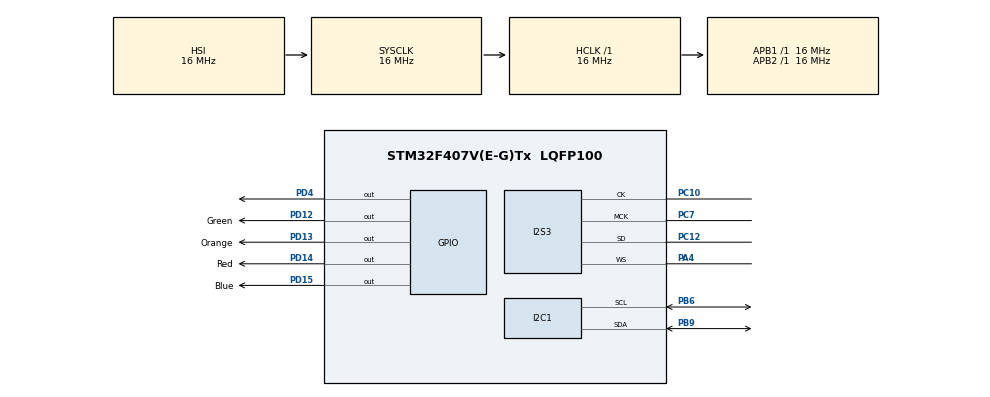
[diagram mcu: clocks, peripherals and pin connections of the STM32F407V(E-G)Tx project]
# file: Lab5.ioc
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Dma.Request0=SPI3_TX
Dma.SPI3_TX.0.Direction=DMA_MEMORY_TO_PERIPH
Dma.SPI3_TX.0.FIFOMode=DMA_FIFOMODE_ENABLE
Dma.SPI3_TX.0.FIFOThreshold=DMA_FIFO_THRESHOLD_FULL
Dma.SPI3_TX.0.Instance=DMA1_Stream5
Dma.SPI3_TX.0.MemBurst=DMA_MBURST_SINGLE
Dma.SPI3_TX.0.MemDataAlignment=DMA_MDATAALIGN_HALFWORD
Dma.SPI3_TX.0.MemInc=DMA_MINC_ENABLE
Dma.SPI3_TX.0.Mode=DMA_CIRCULAR
Dma.SPI3_TX.0.PeriphBurst=DMA_PBURST_SINGLE
Dma.SPI3_TX.0.PeriphDataAlignment=DMA_PDATAALIGN_HALFWORD
Dma.SPI3_TX.0.PeriphInc=DMA_PINC_DISABLE
Dma.SPI3_TX.0.Priority=DMA_PRIORITY_LOW
I2S3.AudioFreq=I2S_AUDIOFREQ_48K
I2S3.ErrorAudioFreq=-2.34 %
I2S3.FullDuplexMode=I2S_FULLDUPLEXMODE_DISABLE
I2S3.Instance=SPI$Index
I2S3.RealAudioFreq=46.875 KHz
I2S3.VirtualMode=I2S_MODE_MASTER
Mcu.Family=STM32F4
Mcu.Name=STM32F407V(E-G)Tx
Mcu.Package=LQFP100
NVIC.DMA1_Stream5_IRQn=true\:0\:0\:false\:false\:true\:false\:true\:true
NVIC.PriorityGroup=NVIC_PRIORITYGROUP_4
PA4.Mode=Half_Duplex_Master
PA4.Signal=I2S3_WS
PB6.Mode=I2C
PB6.Signal=I2C1_SCL
PB9.Mode=I2C
PB9.Signal=I2C1_SDA
PC10.Mode=Half_Duplex_Master
PC10.Signal=I2S3_CK
PC12.Mode=Half_Duplex_Master
PC12.Signal=I2S3_SD
PC7.Mode=Master_Clock_Activated
PC7.Signal=I2S3_MCK
PD12.GPIO_Label=Green
PD12.Signal=GPIO_Output
PD13.GPIO_Label=Orange
PD13.Signal=GPIO_Output
PD14.GPIO_Label=Red
PD14.Signal=GPIO_Output
PD15.GPIO_Label=Blue
PD15.Signal=GPIO_Output
PD4.Signal=GPIO_Output
ProjectManager.HeapSize=0x200
ProjectManager.StackSize=0x400
ProjectManager.TargetToolchain=STM32CubeIDE
RCC.AHBFreq_Value=16000000
RCC.APB1Freq_Value=16000000
RCC.APB2Freq_Value=16000000
RCC.CortexFreq_Value=16000000
RCC.HSE_VALUE=25000000
RCC.HSI_VALUE=16000000
RCC.LSE_VALUE=32768
RCC.SYSCLKFreq_VALUE=16000000
RCC.VCOOutputFreq_Value=192000000
board=custom

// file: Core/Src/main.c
/* USER CODE BEGIN Header */
/**
  ******************************************************************************
  * @file           : main.c
  * @brief          : Main program body
  ******************************************************************************
  * @attention
  *
  * Copyright (c) 2025 STMicroelectronics.
  * All rights reserved.
  *
  * This software is licensed under terms that can be found in the LICENSE file
  * in the root directory of this software component.
  * If no LICENSE file comes with this software, it is provided AS-IS.
  *
  ******************************************************************************
  */
/* USER CODE END Header */
#include "main.h"

/* USER CODE BEGIN PTD */
typedef enum
{
    C4,
    D4,
    E4,
    F4,
    G4,
    A4,
    B4,

    C5,
    D5,
    E5,
    F5,
    G5,
    A5,
    B5,

    C6,
    D6
} soundToneType;

/* USER CODE END PTD */

/* USER CODE BEGIN PD */

#define CS43L22_I2C_ADDRESS 0x94
#define I2C_TIMEOUT 10

/* USER CODE END PD */

I2C_HandleTypeDef hi2c1;

I2S_HandleTypeDef hi2s3;
DMA_HandleTypeDef hdma_spi3_tx;

/* USER CODE BEGIN PV */
int16_t dataI2S[100]={0};
int play_count = 0;
/* USER CODE END PV */

void SystemClock_Config(void);
static void MX_GPIO_Init(void);
static void MX_DMA_Init(void);
static void MX_I2C1_Init(void);
static void MX_I2S3_Init(void);

/* USER CODE BEGIN 0 */

void PlayMusic(void)
{
    CS43L22_Beep(C5, 150);
    HAL_Delay(30);
    CS43L22_Beep(E5, 150);
    HAL_Delay(30);
    CS43L22_Beep(G5, 150);
    HAL_Delay(30);
    CS43L22_Beep(C6, 250);
    HAL_GPIO_TogglePin(GPIOD, Blue_Pin);
    HAL_GPIO_TogglePin(GPIOD, Orange_Pin);
    HAL_GPIO_TogglePin(GPIOD, Green_Pin);
    HAL_GPIO_TogglePin(GPIOD, Red_Pin);
    HAL_Delay(100);
    CS43L22_Beep(B5, 150);
    HAL_Delay(30);
    CS43L22_Beep(G5, 150);
    HAL_Delay(30);
    CS43L22_Beep(E5, 150);
    HAL_Delay(30);
    CS43L22_Beep(C5, 250);
    HAL_GPIO_TogglePin(GPIOD, Blue_Pin);
    HAL_GPIO_TogglePin(GPIOD, Orange_Pin);
    HAL_GPIO_TogglePin(GPIOD, Green_Pin);
    HAL_GPIO_TogglePin(GPIOD, Red_Pin);
    HAL_Delay(120);

    CS43L22_Beep(D5, 150);
    HAL_Delay(30);
    CS43L22_Beep(F5, 150);
    HAL_Delay(30);
    CS43L22_Beep(A5, 150);
    HAL_Delay(30);
    CS43L22_Beep(D6, 250);
    HAL_GPIO_TogglePin(GPIOD, Blue_Pin);
    HAL_GPIO_TogglePin(GPIOD, Orange_Pin);
    HAL_GPIO_TogglePin(GPIOD, Green_Pin);
    HAL_GPIO_TogglePin(GPIOD, Red_Pin);
    HAL_Delay(100);

    CS43L22_Beep(C6, 180);
    HAL_Delay(30);
    CS43L22_Beep(A5, 180);
    HAL_Delay(30);
    CS43L22_Beep(G5, 180);
    HAL_Delay(30);
    CS43L22_Beep(C5, 400);
    HAL_GPIO_TogglePin(GPIOD, Blue_Pin);
    HAL_GPIO_TogglePin(GPIOD, Orange_Pin);
    HAL_GPIO_TogglePin(GPIOD, Green_Pin);
    HAL_GPIO_TogglePin(GPIOD, Red_Pin);
    HAL_Delay(250);
}
void CS43L22_Init(void)
{
	HAL_GPIO_WritePin(GPIOD, GPIO_PIN_4, GPIO_PIN_SET);

	uint8_t TxBuffer[2];

	TxBuffer[0] = 0x0D;
	TxBuffer[1] = 0x01;
	HAL_I2C_Master_Transmit(&hi2c1, CS43L22_I2C_ADDRESS, (uint8_t*) &TxBuffer, 2, I2C_TIMEOUT);

	TxBuffer[0] = 0x00;
	TxBuffer[1] = 0x99;
	HAL_I2C_Master_Transmit(&hi2c1, CS43L22_I2C_ADDRESS, (uint8_t*) &TxBuffer, 2, I2C_TIMEOUT);

	TxBuffer[0] = 0x47;
	TxBuffer[1] = 0x80;
	HAL_I2C_Master_Transmit(&hi2c1, CS43L22_I2C_ADDRESS, (uint8_t*) &TxBuffer, 2, I2C_TIMEOUT);

	TxBuffer[0] = 0x32;
	TxBuffer[1] = 0xFF;
	HAL_I2C_Master_Transmit(&hi2c1, CS43L22_I2C_ADDRESS, (uint8_t*) &TxBuffer, 2, I2C_TIMEOUT);

	TxBuffer[0] = 0x32;
	TxBuffer[1] = 0x7F;
	HAL_I2C_Master_Transmit(&hi2c1, CS43L22_I2C_ADDRESS, (uint8_t*) &TxBuffer, 2, I2C_TIMEOUT);

	TxBuffer[0] = 0x00;
	TxBuffer[1] = 0x00;
	HAL_I2C_Master_Transmit(&hi2c1, CS43L22_I2C_ADDRESS, (uint8_t*) &TxBuffer, 2, I2C_TIMEOUT);

	TxBuffer[0] = 0x04;
	TxBuffer[1] = 0xAF;
	HAL_I2C_Master_Transmit(&hi2c1, CS43L22_I2C_ADDRESS, (uint8_t*) &TxBuffer, 2, I2C_TIMEOUT);

	TxBuffer[0] = 0x0D;
	TxBuffer[1] = 0x70;
	HAL_I2C_Master_Transmit(&hi2c1, CS43L22_I2C_ADDRESS, (uint8_t*) &TxBuffer, 2, I2C_TIMEOUT);

	TxBuffer[0] = 0x05;
	TxBuffer[1] = 0x81;
	HAL_I2C_Master_Transmit(&hi2c1, CS43L22_I2C_ADDRESS, (uint8_t*) &TxBuffer, 2, I2C_TIMEOUT);

	TxBuffer[0] = 0x06;
	TxBuffer[1] = 0x07;
	HAL_I2C_Master_Transmit(&hi2c1, CS43L22_I2C_ADDRESS, (uint8_t*) &TxBuffer, 2, I2C_TIMEOUT);

	TxBuffer[0] = 0x0A;
	TxBuffer[1] = 0x00;
	HAL_I2C_Master_Transmit(&hi2c1, CS43L22_I2C_ADDRESS, (uint8_t*) &TxBuffer, 2, I2C_TIMEOUT);

	TxBuffer[0] = 0x27;
	TxBuffer[1] = 0x00;
	HAL_I2C_Master_Transmit(&hi2c1, CS43L22_I2C_ADDRESS, (uint8_t*) &TxBuffer, 2, I2C_TIMEOUT);

	TxBuffer[0] = 0x1A;
	TxBuffer[1] = 0x0A;
	HAL_I2C_Master_Transmit(&hi2c1, CS43L22_I2C_ADDRESS, (uint8_t*) &TxBuffer, 2, I2C_TIMEOUT);

	TxBuffer[0] = 0x1B;
	TxBuffer[1] = 0x0A;
	HAL_I2C_Master_Transmit(&hi2c1, CS43L22_I2C_ADDRESS, (uint8_t*) &TxBuffer, 2, I2C_TIMEOUT);

	TxBuffer[0] = 0x1F;
	TxBuffer[1] = 0x0F;
	HAL_I2C_Master_Transmit(&hi2c1, CS43L22_I2C_ADDRESS, (uint8_t*) &TxBuffer, 2, I2C_TIMEOUT);

	TxBuffer[0] = 0x02;
	TxBuffer[1] = 0x9E;
	HAL_I2C_Master_Transmit(&hi2c1, CS43L22_I2C_ADDRESS, (uint8_t*) &TxBuffer, 2, I2C_TIMEOUT);
}

void CS43L22_Beep(soundToneType pitch, uint32_t duration_ms)
{
	uint8_t TxBuffer[2];

	TxBuffer[0] = 0x1D;
	TxBuffer[1] = 0x00;
	HAL_I2C_Master_Transmit(&hi2c1, CS43L22_I2C_ADDRESS, (uint8_t*)&TxBuffer, 2, I2C_TIMEOUT);

	TxBuffer[0] = 0x1C;

	switch (pitch)
	{
	    case C4: TxBuffer[1] = 0x00; break;
	    case D4: TxBuffer[1] = 0x10; break;
	    case E4: TxBuffer[1] = 0x20; break;
	    case F4: TxBuffer[1] = 0x30; break;
	    case G4: TxBuffer[1] = 0x40; break;
	    case A4: TxBuffer[1] = 0x50; break;
	    case B4: TxBuffer[1] = 0x60; break;

	    case C5: TxBuffer[1] = 0x70; break;
	    case D5: TxBuffer[1] = 0x80; break;
	    case E5: TxBuffer[1] = 0x90; break;
	    case F5: TxBuffer[1] = 0xA0; break;
	    case G5: TxBuffer[1] = 0xB0; break;
	    case A5: TxBuffer[1] = 0xC0; break;
	    case B5: TxBuffer[1] = 0xD0; break;

	    case C6: TxBuffer[1] = 0xE0; break;
	    case D6: TxBuffer[1] = 0xF0; break;

	    default:
	        TxBuffer[1] = 0x00;
	        break;
	}

	HAL_I2C_Master_Transmit(&hi2c1, CS43L22_I2C_ADDRESS, (uint8_t*)&TxBuffer, 2, I2C_TIMEOUT);

	// Enable continuous mode (SOUND STARTED)
	TxBuffer[0] = 0x1E;
	TxBuffer[1] = 0xC0;
	HAL_I2C_Master_Transmit(&hi2c1, CS43L22_I2C_ADDRESS, (uint8_t*)&TxBuffer, 2, I2C_TIMEOUT);

	// Playing...
	HAL_Delay(duration_ms);

	// Disable continuous mode (SOUND STOPPED)
	TxBuffer[0] = 0x1E;
	TxBuffer[1] = 0x00;
	HAL_I2C_Master_Transmit(&hi2c1, CS43L22_I2C_ADDRESS, (uint8_t*)&TxBuffer, 2, I2C_TIMEOUT);
}
/* USER CODE END 0 */

int main(void)
{

  /* MCU Configuration--------------------------------------------------------*/

  /* Reset of all peripherals, Initializes the Flash interface and the Systick. */
  HAL_Init();

  /* Configure the system clock */
  SystemClock_Config();

  /* Initialize all configured peripherals */
  MX_GPIO_Init();
  MX_DMA_Init();
  MX_I2C1_Init();
  MX_I2S3_Init();
  /* USER CODE BEGIN 2 */
  CS43L22_Init();
  HAL_I2S_Transmit_DMA(&hi2s3, (uint16_t *)dataI2S, 100);

  /* USER CODE END 2 */

  /* Infinite loop */
  /* USER CODE BEGIN WHILE */
  while (1)
  {
	  // test melody
	  HAL_GPIO_WritePin(GPIOD,Blue_Pin,GPIO_PIN_SET);
	  HAL_GPIO_WritePin(GPIOD,Orange_Pin,GPIO_PIN_SET);
	  HAL_GPIO_WritePin(GPIOD,Green_Pin,GPIO_PIN_RESET);
	  HAL_GPIO_WritePin(GPIOD,Red_Pin,GPIO_PIN_RESET);

	  while (1)
	  {
	      if (play_count < 3)
	      {
	    	  PlayMusic();
	          play_count++;
	          HAL_Delay(1000);
	      }
	      else
	      {
	    	  HAL_GPIO_WritePin(GPIOD,Blue_Pin,GPIO_PIN_RESET);
	    	  HAL_GPIO_WritePin(GPIOD,Orange_Pin,GPIO_PIN_RESET);
	    	  HAL_GPIO_WritePin(GPIOD,Green_Pin,GPIO_PIN_RESET);
	    	  HAL_GPIO_WritePin(GPIOD,Red_Pin,GPIO_PIN_RESET);
	          HAL_Delay(1000);
	      }
	  }
    /* USER CODE END WHILE */

  }
}

void SystemClock_Config(void)
{
  RCC_OscInitTypeDef RCC_OscInitStruct = {0};
  RCC_ClkInitTypeDef RCC_ClkInitStruct = {0};

  /** Macro to configure the PLL multiplication factor
  */
  __HAL_RCC_PLL_PLLM_CONFIG(16);

  /** Macro to configure the PLL clock source
  */
  __HAL_RCC_PLL_PLLSOURCE_CONFIG(RCC_PLLSOURCE_HSI);

  /** Configure the main internal regulator output voltage
  */
  __HAL_RCC_PWR_CLK_ENABLE();
  __HAL_PWR_VOLTAGESCALING_CONFIG(PWR_REGULATOR_VOLTAGE_SCALE1);

  /** Initializes the RCC Oscillators according to the specified parameters
  * in the RCC_OscInitTypeDef structure.
  */
  RCC_OscInitStruct.OscillatorType = RCC_OSCILLATORTYPE_HSI;
  RCC_OscInitStruct.HSIState = RCC_HSI_ON;
  RCC_OscInitStruct.HSICalibrationValue = RCC_HSICALIBRATION_DEFAULT;
  RCC_OscInitStruct.PLL.PLLState = RCC_PLL_NONE;
  RCC_OscInitStruct.PLL.PLLSource = RCC_PLLSOURCE_HSI;
  if (HAL_RCC_OscConfig(&RCC_OscInitStruct) != HAL_OK)
  {
    Error_Handler();
  }

  /** Initializes the CPU, AHB and APB buses clocks
  */
  RCC_ClkInitStruct.ClockType = RCC_CLOCKTYPE_HCLK|RCC_CLOCKTYPE_SYSCLK
                              |RCC_CLOCKTYPE_PCLK1|RCC_CLOCKTYPE_PCLK2;
  RCC_ClkInitStruct.SYSCLKSource = RCC_SYSCLKSOURCE_HSI;
  RCC_ClkInitStruct.AHBCLKDivider = RCC_SYSCLK_DIV1;
  RCC_ClkInitStruct.APB1CLKDivider = RCC_HCLK_DIV1;
  RCC_ClkInitStruct.APB2CLKDivider = RCC_HCLK_DIV1;

  if (HAL_RCC_ClockConfig(&RCC_ClkInitStruct, FLASH_LATENCY_0) != HAL_OK)
  {
    Error_Handler();
  }
}

static void MX_I2C1_Init(void)
{

  hi2c1.Instance = I2C1;
  hi2c1.Init.ClockSpeed = 100000;
  hi2c1.Init.DutyCycle = I2C_DUTYCYCLE_2;
  hi2c1.Init.OwnAddress1 = 0;
  hi2c1.Init.AddressingMode = I2C_ADDRESSINGMODE_7BIT;
  hi2c1.Init.DualAddressMode = I2C_DUALADDRESS_DISABLE;
  hi2c1.Init.OwnAddress2 = 0;
  hi2c1.Init.GeneralCallMode = I2C_GENERALCALL_DISABLE;
  hi2c1.Init.NoStretchMode = I2C_NOSTRETCH_DISABLE;
  if (HAL_I2C_Init(&hi2c1) != HAL_OK)
  {
    Error_Handler();
  }

}

static void MX_I2S3_Init(void)
{

  hi2s3.Instance = SPI3;
  hi2s3.Init.Mode = I2S_MODE_MASTER_TX;
  hi2s3.Init.Standard = I2S_STANDARD_PHILIPS;
  hi2s3.Init.DataFormat = I2S_DATAFORMAT_16B;
  hi2s3.Init.MCLKOutput = I2S_MCLKOUTPUT_ENABLE;
  hi2s3.Init.AudioFreq = I2S_AUDIOFREQ_48K;
  hi2s3.Init.CPOL = I2S_CPOL_LOW;
  hi2s3.Init.ClockSource = I2S_CLOCK_PLL;
  hi2s3.Init.FullDuplexMode = I2S_FULLDUPLEXMODE_DISABLE;
  if (HAL_I2S_Init(&hi2s3) != HAL_OK)
  {
    Error_Handler();
  }

}

static void MX_DMA_Init(void)
{

  /* DMA controller clock enable */
  __HAL_RCC_DMA1_CLK_ENABLE();

  /* DMA interrupt init */
  /* DMA1_Stream5_IRQn interrupt configuration */
  HAL_NVIC_SetPriority(DMA1_Stream5_IRQn, 0, 0);
  HAL_NVIC_EnableIRQ(DMA1_Stream5_IRQn);

}

static void MX_GPIO_Init(void)
{
  GPIO_InitTypeDef GPIO_InitStruct = {0};

  /* GPIO Ports Clock Enable */
  __HAL_RCC_GPIOA_CLK_ENABLE();
  __HAL_RCC_GPIOD_CLK_ENABLE();
  __HAL_RCC_GPIOC_CLK_ENABLE();
  __HAL_RCC_GPIOB_CLK_ENABLE();

  /*Configure GPIO pin Output Level */
  HAL_GPIO_WritePin(GPIOD, Green_Pin|Orange_Pin|Red_Pin|Blue_Pin
                          |GPIO_PIN_4, GPIO_PIN_RESET);

  /*Configure GPIO pins : Green_Pin Orange_Pin Red_Pin Blue_Pin
                           PD4 */
  GPIO_InitStruct.Pin = Green_Pin|Orange_Pin|Red_Pin|Blue_Pin
                          |GPIO_PIN_4;
  GPIO_InitStruct.Mode = GPIO_MODE_OUTPUT_PP;
  GPIO_InitStruct.Pull = GPIO_NOPULL;
  GPIO_InitStruct.Speed = GPIO_SPEED_FREQ_LOW;
  HAL_GPIO_Init(GPIOD, &GPIO_InitStruct);

}

void Error_Handler(void)
{
  __disable_irq();
  while (1)
  {
  }
}
